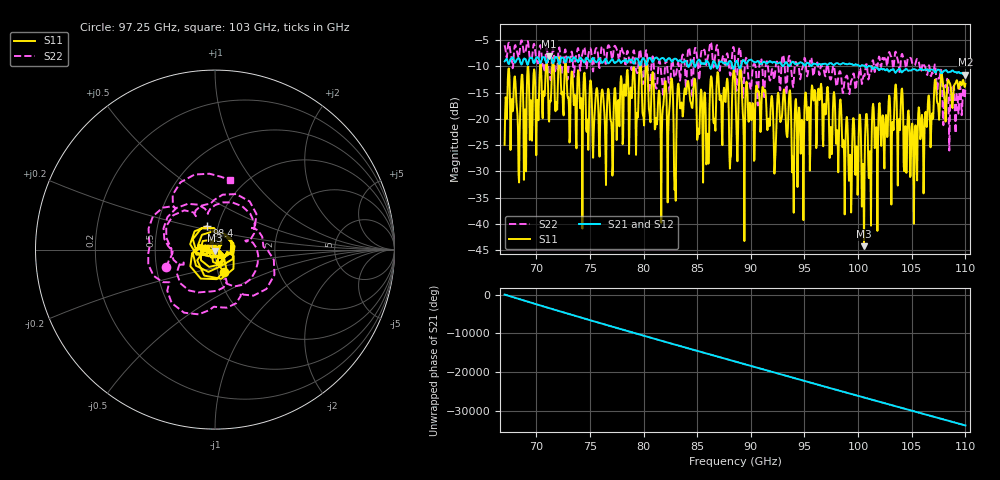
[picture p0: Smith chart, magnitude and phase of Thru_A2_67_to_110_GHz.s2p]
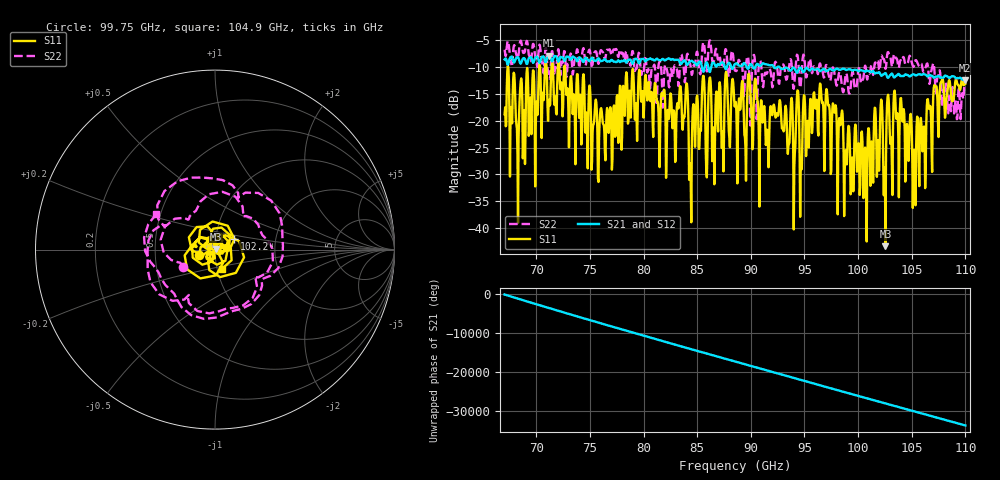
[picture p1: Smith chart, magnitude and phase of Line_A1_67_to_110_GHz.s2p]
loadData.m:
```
function [freq, Port1Meas, Port2Meas, SThruMeas, SLineMeas] = loadData(folderName)

[freq_DC_to_67_GHz, SOpen_DC_to_67_GHz] = SXPParse(fullfile(folderName, 'Open_DC_to_67_GHz.s2p'));
[freq_67_to_110_GHz, SOpen_67_to_110_GHz] = SXPParse(fullfile(folderName, 'Open_67_to_110_GHz.s2p'));
freq = cat(1, freq_DC_to_67_GHz, freq_67_to_110_GHz);
SOpen = cat(3, SOpen_DC_to_67_GHz, SOpen_67_to_110_GHz);

[~, SShort_DC_to_67_GHz] = SXPParse(fullfile(folderName, 'Short_A1_DC_to_67_GHz.s2p'));
[~, SShort_67_to_110_GHz] = SXPParse(fullfile(folderName, 'Short_A2_67_to_110_GHz.s2p'));
SShort = cat(3, SShort_DC_to_67_GHz, SShort_67_to_110_GHz);

[~, SMatch_DC_to_67_GHz] = SXPParse(fullfile(folderName, 'Match_A1_DC_to_67_GHz.s2p'));
[~, SMatch_67_to_110_GHz] = SXPParse(fullfile(folderName, 'Match_A2_67_to_110_GHz.s2p'));
SMatch = cat(3, SMatch_DC_to_67_GHz, SMatch_67_to_110_GHz);

[~, SThruMeas_DC_to_67_GHz] = SXPParse(fullfile(folderName, 'Thru_A1_DC_to_67_GHz.s2p'));
[~, SThruMeas_67_to_110_GHz] = SXPParse(fullfile(folderName, 'Thru_A2_67_to_110_GHz.s2p'));
SThruMeas = cat(3, SThruMeas_DC_to_67_GHz, SThruMeas_67_to_110_GHz);

[~, SLine1Meas_DC_to_67_GHz] = SXPParse(fullfile(folderName, 'Line_A1_DC_to_67_GHz.s2p'));
[~, SLine1Meas_67_to_110_GHz] = SXPParse(fullfile(folderName, 'Line_A1_67_to_110_GHz.s2p'));
SLine1Meas = cat(3, SLine1Meas_DC_to_67_GHz, SLine1Meas_67_to_110_GHz);

[~, SLine2Meas_DC_to_67_GHz] = SXPParse(fullfile(folderName, 'Line_A2_DC_to_67_GHz.s2p'));
[~, SLine2Meas_67_to_110_GHz] = SXPParse(fullfile(folderName, 'Line_A2_67_to_110_GHz.s2p'));
SLine2Meas = cat(3, SLine2Meas_DC_to_67_GHz, SLine2Meas_67_to_110_GHz);

[~, SLine3Meas_DC_to_67_GHz] = SXPParse(fullfile(folderName, 'Line_A3_DC_to_67_GHz.s2p'));
[~, SLine3Meas_67_to_110_GHz] = SXPParse(fullfile(folderName, 'Line_A3_67_to_110_GHz.s2p'));
SLine3Meas = cat(3, SLine3Meas_DC_to_67_GHz, SLine3Meas_67_to_110_GHz);

[~, SLine4Meas_DC_to_67_GHz] = SXPParse(fullfile(folderName, 'Line_A4_DC_to_67_GHz.s2p'));
[~, SLine4Meas_67_to_110_GHz] = SXPParse(fullfile(folderName, 'Line_A4_67_to_110_GHz.s2p'));
SLine4Meas = cat(3, SLine4Meas_DC_to_67_GHz, SLine4Meas_67_to_110_GHz);

[~, SLine5Meas_DC_to_67_GHz] = SXPParse(fullfile(folderName, 'Line_A5_DC_to_67_GHz.s2p'));
[~, SLine5Meas_67_to_110_GHz] = SXPParse(fullfile(folderName, 'Line_A5_67_to_110_GHz.s2p'));
SLine5Meas = cat(3, SLine5Meas_DC_to_67_GHz, SLine5Meas_67_to_110_GHz);

SLineMeas = cat(4, SLine1Meas, SLine2Meas, SLine3Meas, SLine4Meas, SLine5Meas);

Port1Meas = struct('open', squeeze(SOpen(1, 1, :)), ...
    'short', squeeze(SShort(1, 1, :)), ...
    'match', squeeze(SMatch(1, 1, :)));

Port2Meas = struct('open', squeeze(SOpen(2, 2, :)), ...
    'short', squeeze(SShort(2, 2, :)), ...
    'match', squeeze(SMatch(2, 2, :)));


end
```
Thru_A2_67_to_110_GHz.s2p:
#  HZ  S  MA  R  50.00
! Rohde & Schwarz ZVA67 4Ports - Version 4.11 - 1305.7002k04 SN: 101051
! Date: 2023-09-13 16:54:25
! Measurements: S11 S21 S12 S22
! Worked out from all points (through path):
!   860 points, 67.05 GHz to 110 GHz, reference 50 ohm
!   highest |S21| = -8.12 dB at 71.2 GHz (marker M1); lowest = -11.6 dB at 110 GHz (marker M2)
!   lowest |S11| = -44.3 dB at 100.5 GHz (marker M3), VSWR 1.01, Z = 50.1 - j0.595 ohm
!   |S11| at or under -10 dB: start of sweep to 70.36 GHz; 72.78 GHz to 79.64 GHz (6.86 GHz wide, 9 % of centre); 80.35 GHz to end of sweep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
!   |S22| runs from -26.0 to -5.1 dB; largest |S21 - S12| = 0.044
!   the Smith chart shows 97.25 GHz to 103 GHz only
!   S11 on the Smith chart (normalised r, x): 97.25 GHz: 1.07, -0.27; 98.4 GHz: 0.88, +0.23; 103 GHz: 0.90, +0.02
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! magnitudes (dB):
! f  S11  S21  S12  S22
! 67.05 GHz  -25.0  -9.1  -9.0  -6.0
! 71.2 GHz  -20.5  -8.1  -8.1  -11.4
! 80.3 GHz  -9.1  -9.7  -9.6  -7.3
! 82.95 GHz  -31.6  -8.5  -8.5  -12.0
! 84 GHz  -14.9  -9.1  -9.1  -13.3
! 88.55 GHz  -13.9  -9.5  -9.4  -10.3
! 97.25 GHz  -17.4  -9.6  -9.6  -10.8
! 98.4 GHz  -17.2  -9.6  -9.6  -11.6
! 100.5 GHz  -44.3  -9.8  -9.8  -11.8
! 103 GHz  -25.3  -10.7  -10.7  -8.1
! 110 GHz  -13.3  -11.6  -11.6  -14.0
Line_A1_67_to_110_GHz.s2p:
#  HZ  S  MA  R  50.00
! Rohde & Schwarz ZVA67 4Ports - Version 4.11 - 1305.7002k04 SN: 101051
! Date: 2023-09-13 17:20:14
! Measurements: S11 S21 S12 S22
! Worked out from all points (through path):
!   860 points, 67.05 GHz to 110 GHz, reference 50 ohm
!   highest |S21| = -7.89 dB at 71.2 GHz (marker M1); lowest = -12.5 dB at 110 GHz (marker M2)
!   lowest |S11| = -43.3 dB at 102.5 GHz (marker M3), VSWR 1.01, Z = 50.5 + j0.41 ohm
!   |S11| at or under -10 dB: 67.38 GHz to 70.28 GHz (2.904 GHz wide, 4.22 % of centre); 71.54 GHz to 72.02 GHz (478.7 MHz wide, 0.667 % of centre); 72.66 GHz to end of sweep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
!   |S22| runs from -20.9 to -5.1 dB; largest |S21 - S12| = 0.041
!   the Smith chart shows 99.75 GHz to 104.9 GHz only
!   S11 on the Smith chart (normalised r, x): 99.75 GHz: 0.84, -0.05; 102.2 GHz: 1.23, +0.15; 104.9 GHz: 1.05, -0.23
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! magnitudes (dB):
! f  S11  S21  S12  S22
! 67.05 GHz  -18.8  -8.6  -8.6  -6.8
! 71.2 GHz  -16.1  -7.9  -7.9  -11.3
! 83.95 GHz  -14.0  -9.2  -9.2  -10.1
! 84.4 GHz  -31.3  -8.9  -8.9  -10.0
! 88.55 GHz  -16.8  -9.4  -9.4  -10.7
! 99.75 GHz  -20.7  -10.6  -10.5  -14.0
! 102.2 GHz  -18.2  -11.6  -11.6  -8.1
! 102.5 GHz  -43.3  -11.2  -11.2  -10.4
! 104.9 GHz  -18.7  -11.7  -11.7  -8.4
! 110 GHz  -12.9  -12.5  -12.4  -12.6
! 110 GHz  -13.1  -12.5  -12.4  -13.1
